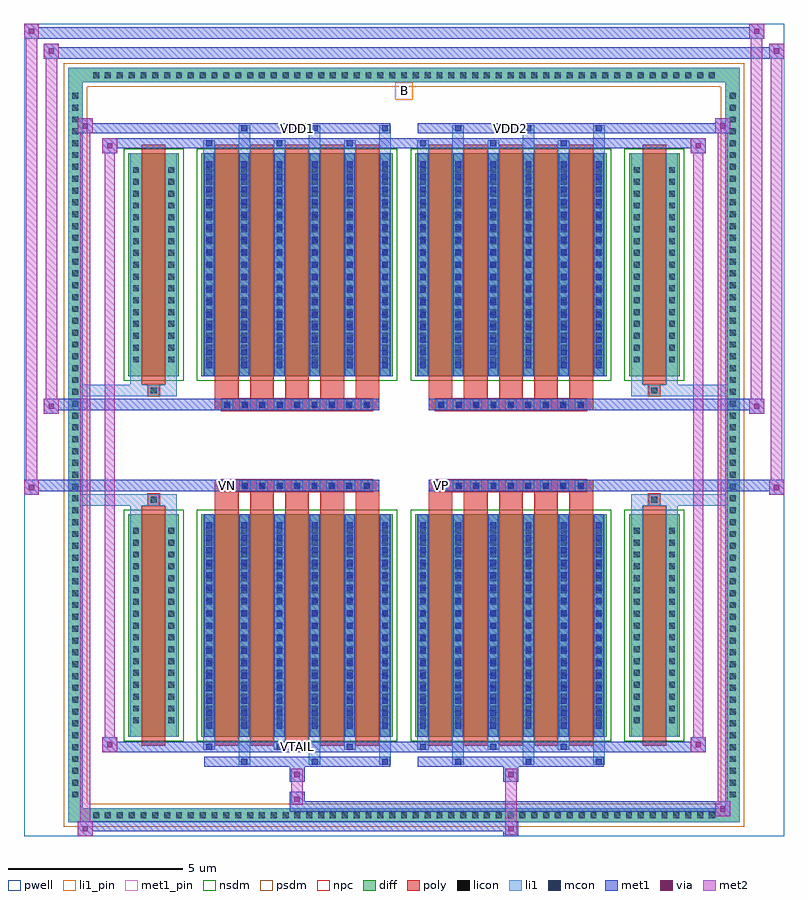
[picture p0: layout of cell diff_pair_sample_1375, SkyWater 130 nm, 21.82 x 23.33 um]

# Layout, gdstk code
import gdstk
lib = gdstk.Library(unit=1e-6, precision=5e-09)
def R(c, l, rs):  # rectangles x0, y0, x1, y1
    for r in rs: c.add(gdstk.rectangle(r[:2], r[2:], *l))
def A(c, l, x, y, w, h, nx, ny, dx, dy):  # array of equal rectangles
    R(c, l, [(x+i*dx, y+j*dy, x+i*dx+w, y+j*dy+h) for i in range(nx) for j in range(ny)])
def P(c, l, *ps):  # polygons
    for p in ps: c.add(gdstk.Polygon(p, *l))
pwell = (64, 44)
diff = (65, 20)
poly = (66, 20)
licon = (66, 44)
li1_pin = (67, 16)
li1 = (67, 20)
mcon = (67, 44)
met1_pin = (68, 16)
met1 = (68, 20)
via = (68, 44)
met2 = (69, 20)
nsdm = (93, 44)
psdm = (94, 20)
npc = (95, 20)

diff_pair_sample_1375 = lib.new_cell('diff_pair_sample_1375')
R(diff_pair_sample_1375, pwell, [(-10.91,-11.23,10.91,12.1), (-8.23,-9.42,-0.01,-0.8), (0.01,-9.42,8.23,-0.8), (-8.23,0.8,-0.01,9.42), (0.01,0.8,8.23,9.42)])
A(diff_pair_sample_1375, diff, -9.045, -10.83, 0.41, 0.41, 53, 2, 0.34, 21.25)
A(diff_pair_sample_1375, diff, -9.64, -10.235, 0.41, 0.41, 1, 60, 0, 0.34)
A(diff_pair_sample_1375, diff, 9.23, -10.235, 0.41, 0.41, 1, 60, 0, 0.34)
R(diff_pair_sample_1375, diff, [(-9.045,-10.83,9.045,-10.42), (-9.64,-10.235,-9.23,10.235), (9.23,-10.235,9.64,10.235), (-7.92,-8.375,-6.46,-1.985), (-5.82,-8.375,-0.32,-1.985), (0.32,-8.375,5.82,-1.985), (6.46,-8.375,7.92,-1.985), (-7.92,1.985,-6.46,8.375), (-5.82,1.985,-0.32,8.375), (0.32,1.985,5.82,8.375), (6.46,1.985,7.92,8.375), (-9.045,10.42,9.045,10.83)])
P(diff_pair_sample_1375, diff, [(9.64,10.83),(-9.64,10.83),(-9.64,-10.42),(-9.23,-10.42),(-9.23,10.42),(9.23,10.42),(9.23,-10.42),(-9.23,-10.42),(-9.64,-10.42),(-9.64,-10.83),(9.64,-10.83)])
A(diff_pair_sample_1375, poly, -5.43, -8.625, 0.68, 6.89, 5, 2, 1.01, 10.36)
A(diff_pair_sample_1375, poly, 0.71, -8.625, 0.68, 6.89, 5, 2, 1.01, 10.36)
A(diff_pair_sample_1375, poly, -5.43, -1.735, 0.68, 0.405, 5, 2, 1.01, 3.065)
A(diff_pair_sample_1375, poly, 0.71, -1.735, 0.68, 0.405, 5, 2, 1.01, 3.065)
A(diff_pair_sample_1375, poly, -5.235, -1.33, 0.33, 0.33, 9, 2, 0.5, 2.33)
A(diff_pair_sample_1375, poly, 0.905, -1.33, 0.33, 0.33, 9, 2, 0.5, 2.33)
R(diff_pair_sample_1375, poly, [(-7.53,-8.625,-6.85,-1.735), (6.85,-8.625,7.53,-1.735), (-7.355,-1.735,-7.025,-1.405), (-7.355,-1.735,-7.025,-1.405), (7.025,-1.735,7.355,-1.405), (7.025,-1.735,7.355,-1.405), (-5.43,-1.33,-0.71,-1), (0.71,-1.33,5.43,-1), (-5.43,1,-0.71,1.33), (0.71,1,5.43,1.33), (-7.355,1.405,-7.025,1.735), (-7.355,1.405,-7.025,1.735), (7.025,1.405,7.355,1.735), (7.025,1.405,7.355,1.735), (-7.53,1.735,-6.85,8.625), (6.85,1.735,7.53,8.625)])
A(diff_pair_sample_1375, licon, -8.925, -10.71, 0.17, 0.17, 53, 2, 0.34, 21.25)
A(diff_pair_sample_1375, licon, -9.52, -10.115, 0.17, 0.17, 1, 60, 0, 0.34)
A(diff_pair_sample_1375, licon, 9.35, -10.115, 0.17, 0.17, 1, 60, 0, 0.34)
A(diff_pair_sample_1375, licon, -7.78, -7.985, 0.17, 0.17, 1, 17, 0, 0.34)
A(diff_pair_sample_1375, licon, -6.77, -7.985, 0.17, 0.17, 1, 17, 0, 0.34)
A(diff_pair_sample_1375, licon, -5.68, -7.985, 0.17, 0.17, 6, 17, 1.01, 0.34)
A(diff_pair_sample_1375, licon, 0.46, -7.985, 0.17, 0.17, 6, 17, 1.01, 0.34)
A(diff_pair_sample_1375, licon, 6.6, -7.985, 0.17, 0.17, 1, 17, 0, 0.34)
A(diff_pair_sample_1375, licon, 7.61, -7.985, 0.17, 0.17, 1, 17, 0, 0.34)
A(diff_pair_sample_1375, licon, -5.155, -1.25, 0.17, 0.17, 9, 2, 0.5, 2.33)
A(diff_pair_sample_1375, licon, 0.985, -1.25, 0.17, 0.17, 9, 2, 0.5, 2.33)
A(diff_pair_sample_1375, licon, -7.78, 2.375, 0.17, 0.17, 1, 17, 0, 0.34)
A(diff_pair_sample_1375, licon, -6.77, 2.375, 0.17, 0.17, 1, 17, 0, 0.34)
A(diff_pair_sample_1375, licon, -5.68, 2.375, 0.17, 0.17, 6, 17, 1.01, 0.34)
A(diff_pair_sample_1375, licon, 0.46, 2.375, 0.17, 0.17, 6, 17, 1.01, 0.34)
A(diff_pair_sample_1375, licon, 6.6, 2.375, 0.17, 0.17, 1, 17, 0, 0.34)
A(diff_pair_sample_1375, licon, 7.61, 2.375, 0.17, 0.17, 1, 17, 0, 0.34)
R(diff_pair_sample_1375, licon, [(-7.275,-1.655,-7.105,-1.485), (7.105,-1.655,7.275,-1.485), (-7.275,1.485,-7.105,1.655), (7.105,1.485,7.275,1.655)])
R(diff_pair_sample_1375, li1_pin, [(-0.25,9.92,0.25,10.42)])
A(diff_pair_sample_1375, li1, -9.005, -10.79, 0.33, 0.33, 53, 2, 0.34, 21.25)
A(diff_pair_sample_1375, li1, -9.6, -10.195, 0.33, 0.33, 1, 60, 0, 0.34)
A(diff_pair_sample_1375, li1, 9.27, -10.195, 0.33, 0.33, 1, 60, 0, 0.34)
A(diff_pair_sample_1375, li1, -4.75, -9.18, 0.33, 0.805, 3, 2, 2.02, 17.555)
A(diff_pair_sample_1375, li1, -4.67, -9.18, 0.17, 0.17, 3, 2, 2.02, 18.19)
A(diff_pair_sample_1375, li1, 1.39, -9.18, 0.33, 0.805, 3, 2, 2.02, 17.555)
A(diff_pair_sample_1375, li1, 1.47, -9.18, 0.17, 0.17, 3, 2, 2.02, 18.19)
A(diff_pair_sample_1375, li1, -5.76, -8.75, 0.33, 0.375, 3, 2, 2.02, 17.125)
A(diff_pair_sample_1375, li1, -5.68, -8.75, 0.17, 0.17, 3, 2, 2.02, 17.33)
A(diff_pair_sample_1375, li1, 0.38, -8.75, 0.33, 0.375, 3, 2, 2.02, 17.125)
A(diff_pair_sample_1375, li1, 0.46, -8.75, 0.17, 0.17, 3, 2, 2.02, 17.33)
A(diff_pair_sample_1375, li1, -5.76, -8.375, 0.33, 6.39, 6, 2, 1.01, 10.36)
A(diff_pair_sample_1375, li1, 0.38, -8.375, 0.33, 6.39, 6, 2, 1.01, 10.36)
A(diff_pair_sample_1375, li1, -5.68, -8.145, 0.17, 0.17, 6, 17, 1.01, 0.36)
A(diff_pair_sample_1375, li1, -5.68, -8.145, 0.17, 5.93, 6, 2, 1.01, 10.36)
A(diff_pair_sample_1375, li1, 0.46, -8.145, 0.17, 0.17, 6, 17, 1.01, 0.36)
A(diff_pair_sample_1375, li1, 0.46, -8.145, 0.17, 5.93, 6, 2, 1.01, 10.36)
A(diff_pair_sample_1375, li1, -7.86, -8.065, 0.33, 0.33, 1, 17, 0, 0.34)
A(diff_pair_sample_1375, li1, -6.85, -8.065, 0.33, 0.33, 1, 17, 0, 0.34)
A(diff_pair_sample_1375, li1, -5.76, -8.065, 0.33, 0.33, 6, 17, 1.01, 0.34)
A(diff_pair_sample_1375, li1, 0.38, -8.065, 0.33, 0.33, 6, 17, 1.01, 0.34)
A(diff_pair_sample_1375, li1, 6.52, -8.065, 0.33, 0.33, 1, 17, 0, 0.34)
A(diff_pair_sample_1375, li1, 7.53, -8.065, 0.33, 0.33, 1, 17, 0, 0.34)
A(diff_pair_sample_1375, li1, -5.235, -1.33, 0.33, 0.33, 9, 2, 0.5, 2.33)
A(diff_pair_sample_1375, li1, 0.905, -1.33, 0.33, 0.33, 9, 2, 0.5, 2.33)
A(diff_pair_sample_1375, li1, -5.68, 2.215, 0.17, 0.17, 6, 17, 1.01, 0.36)
A(diff_pair_sample_1375, li1, 0.46, 2.215, 0.17, 0.17, 6, 17, 1.01, 0.36)
A(diff_pair_sample_1375, li1, -7.86, 2.295, 0.33, 0.33, 1, 17, 0, 0.34)
A(diff_pair_sample_1375, li1, -6.85, 2.295, 0.33, 0.33, 1, 17, 0, 0.34)
A(diff_pair_sample_1375, li1, -5.76, 2.295, 0.33, 0.33, 6, 17, 1.01, 0.34)
A(diff_pair_sample_1375, li1, 0.38, 2.295, 0.33, 0.33, 6, 17, 1.01, 0.34)
A(diff_pair_sample_1375, li1, 6.52, 2.295, 0.33, 0.33, 1, 17, 0, 0.34)
A(diff_pair_sample_1375, li1, 7.53, 2.295, 0.33, 0.33, 1, 17, 0, 0.34)
R(diff_pair_sample_1375, li1, [(-9.64,-10.83,-9.23,-10.42), (-9.64,-10.83,-9.23,-10.42), (-9.23,-10.83,9.23,-10.42), (9.23,-10.83,9.64,-10.42), (9.23,-10.83,9.64,-10.42), (-9.64,-10.42,-9.23,10.42), (9.23,-10.42,9.64,10.42), (-7.86,-8.375,-7.53,-1.985), (-6.85,-8.375,-6.52,-1.985), (6.52,-8.375,6.85,-1.985), (7.53,-8.375,7.86,-1.985), (-7.86,-1.985,-7.53,-1.405), (-6.85,-1.985,-6.52,-1.405), (6.52,-1.985,6.85,-1.405), (7.53,-1.985,7.86,-1.405), (-9.64,-1.735,-7.355,-1.405), (-7.86,-1.735,-7.355,-1.405), (-7.355,-1.735,-7.025,-1.405), (-7.025,-1.735,-6.52,-1.405), (6.52,-1.735,7.025,-1.405), (7.025,-1.735,7.355,-1.405), (7.025,-1.735,9.64,-1.405), (7.355,-1.735,7.86,-1.405), (-9.64,1.405,-7.355,1.735), (-7.86,1.405,-7.355,1.735), (-7.86,1.405,-7.53,1.985), (-7.355,1.405,-7.025,1.735), (-7.025,1.405,-6.52,1.735), (-6.85,1.405,-6.52,1.985), (6.52,1.405,7.025,1.735), (6.52,1.405,6.85,1.985), (7.025,1.405,7.355,1.735), (7.025,1.405,9.64,1.735), (7.355,1.405,7.86,1.735), (7.53,1.405,7.86,1.985), (-7.86,1.985,-7.53,8.375), (-6.85,1.985,-6.52,8.375), (6.52,1.985,6.85,8.375), (7.53,1.985,7.86,8.375), (-9.64,10.42,-9.23,10.83), (-9.64,10.42,-9.23,10.83), (-9.23,10.42,9.23,10.83), (9.23,10.42,9.64,10.83), (9.23,10.42,9.64,10.83)])
A(diff_pair_sample_1375, mcon, -4.67, -9.18, 0.17, 0.17, 3, 2, 2.02, 18.19)
A(diff_pair_sample_1375, mcon, 1.47, -9.18, 0.17, 0.17, 3, 2, 2.02, 18.19)
A(diff_pair_sample_1375, mcon, -5.68, -8.75, 0.17, 0.17, 3, 2, 2.02, 17.33)
A(diff_pair_sample_1375, mcon, 0.46, -8.75, 0.17, 0.17, 3, 2, 2.02, 17.33)
A(diff_pair_sample_1375, mcon, -5.68, -8.145, 0.17, 0.17, 6, 17, 1.01, 0.36)
A(diff_pair_sample_1375, mcon, 0.46, -8.145, 0.17, 0.17, 6, 17, 1.01, 0.36)
A(diff_pair_sample_1375, mcon, -5.155, -1.25, 0.17, 0.17, 9, 2, 0.5, 2.33)
A(diff_pair_sample_1375, mcon, 0.985, -1.25, 0.17, 0.17, 9, 2, 0.5, 2.33)
A(diff_pair_sample_1375, mcon, -5.68, 2.215, 0.17, 0.17, 6, 17, 1.01, 0.36)
A(diff_pair_sample_1375, mcon, 0.46, 2.215, 0.17, 0.17, 6, 17, 1.01, 0.36)
R(diff_pair_sample_1375, met1_pin, [(-3.205,-8.79,-2.935,-8.52), (-5.205,-1.29,-4.935,-1.02), (0.935,-1.29,1.205,-1.02), (-3.205,8.97,-2.935,9.24), (2.935,8.97,3.205,9.24)])
A(diff_pair_sample_1375, met1, -4.73, -9.24, 0.29, 0.29, 3, 2, 2.02, 18.19)
A(diff_pair_sample_1375, met1, 1.41, -9.24, 0.29, 0.29, 3, 2, 2.02, 18.19)
A(diff_pair_sample_1375, met1, -5.74, -8.81, 0.29, 0.29, 3, 2, 2.02, 17.33)
A(diff_pair_sample_1375, met1, 0.4, -8.81, 0.29, 0.29, 3, 2, 2.02, 17.33)
A(diff_pair_sample_1375, met1, -5.74, -8.375, 0.29, 6.39, 6, 2, 1.01, 10.36)
A(diff_pair_sample_1375, met1, 0.4, -8.375, 0.29, 6.39, 6, 2, 1.01, 10.36)
A(diff_pair_sample_1375, met1, -5.74, -8.205, 0.29, 0.29, 6, 17, 1.01, 0.36)
A(diff_pair_sample_1375, met1, 0.4, -8.205, 0.29, 0.29, 6, 17, 1.01, 0.36)
A(diff_pair_sample_1375, met1, -5.215, -1.31, 0.29, 0.29, 9, 2, 0.5, 2.33)
A(diff_pair_sample_1375, met1, 0.925, -1.31, 0.29, 0.29, 9, 2, 0.5, 2.33)
A(diff_pair_sample_1375, met1, -5.74, 2.155, 0.29, 0.29, 6, 17, 1.01, 0.36)
A(diff_pair_sample_1375, met1, 0.4, 2.155, 0.29, 0.29, 6, 17, 1.01, 0.36)
R(diff_pair_sample_1375, met1, [(-9.37,-11.23,-8.94,-10.8), (2.855,-11.23,3.285,-10.8), (-9.37,-11.09,3.285,-10.8), (8.94,-10.66,9.37,-10.23), (-3.285,-10.52,9.37,-10.23), (-3.285,-10.38,-2.855,-9.95), (-3.285,-9.67,-2.855,-9.24), (2.855,-9.67,3.285,-9.24), (-5.74,-9.24,-0.4,-8.95), (0.4,-9.24,5.74,-8.95), (-8.66,-8.81,-8.23,-8.38), (-8.66,-8.81,-5.74,-8.52), (-5.74,-8.81,-0.4,-8.52), (-0.4,-8.81,0.4,-8.52), (0.4,-8.81,5.74,-8.52), (5.74,-8.81,8.66,-8.52), (8.23,-8.81,8.66,-8.38), (-10.91,-1.43,-10.48,-1), (10.48,-1.43,10.91,-1), (-10.91,-1.33,-0.71,-1), (-5.43,-1.33,-0.71,-1), (0.71,-1.33,5.43,-1), (0.71,-1.33,10.91,-1), (-10.34,0.9,-9.91,1.33), (9.91,0.9,10.34,1.33), (-10.34,1,-5.43,1.33), (-5.43,1,-0.71,1.33), (0.71,1,5.43,1.33), (5.43,1,10.34,1.33), (-8.66,8.38,-8.23,8.81), (8.23,8.38,8.66,8.81), (-8.66,8.52,-5.74,8.81), (-5.74,8.52,-0.4,8.81), (-0.4,8.52,0.4,8.81), (0.4,8.52,5.74,8.81), (5.74,8.52,8.66,8.81), (-9.37,8.95,-8.94,9.38), (-9.37,8.95,-5.74,9.24), (-5.74,8.95,-0.4,9.24), (0.4,8.95,5.74,9.24), (5.74,8.95,9.37,9.24), (8.94,8.95,9.37,9.38), (-10.34,11.1,-9.91,11.53), (-10.34,11.1,-8.23,11.43), (-8.23,11.1,8.23,11.43), (8.23,11.1,10.91,11.43), (10.48,11.1,10.91,11.53), (-10.91,11.67,-10.48,12.1), (-10.91,11.67,-8.23,12), (-8.23,11.67,8.23,12), (8.23,11.67,10.34,12), (9.91,11.67,10.34,12.1)])
R(diff_pair_sample_1375, via, [(-9.23,-11.09,-9.08,-10.94), (2.995,-11.09,3.145,-10.94), (9.08,-10.52,9.23,-10.37), (-3.145,-10.24,-2.995,-10.09), (-3.145,-9.53,-2.995,-9.38), (2.995,-9.53,3.145,-9.38), (-8.52,-8.67,-8.37,-8.52), (8.37,-8.67,8.52,-8.52), (-10.77,-1.29,-10.62,-1.14), (10.62,-1.29,10.77,-1.14), (-10.2,1.04,-10.05,1.19), (10.05,1.04,10.2,1.19), (-8.52,8.52,-8.37,8.67), (8.37,8.52,8.52,8.67), (-9.23,9.09,-9.08,9.24), (9.08,9.09,9.23,9.24), (-10.2,11.24,-10.05,11.39), (10.62,11.24,10.77,11.39), (-10.77,11.81,-10.62,11.96), (10.05,11.81,10.2,11.96)])
R(diff_pair_sample_1375, met2, [(-9.37,-11.23,-8.94,-10.8), (-9.3,-11.23,-9.01,9.38), (-9.01,-11.23,-8.94,-10.8), (-9.32,-11.18,-8.99,-10.85), (2.905,-11.18,3.235,-10.85), (2.905,-10.85,3.235,-9.62), (8.94,-10.66,9.37,-10.23), (9.01,-10.66,9.3,9.38), (9.3,-10.66,9.37,-10.23), (8.99,-10.61,9.32,-10.28), (-3.235,-10.33,-2.905,-10), (-3.235,-10,-2.905,-9.62), (-3.235,-9.62,-2.905,-9.29), (2.905,-9.62,3.235,-9.29), (-8.66,-8.81,-8.23,-8.38), (-8.59,-8.81,-8.3,8.81), (-8.3,-8.81,-8.23,-8.38), (8.23,-8.81,8.66,-8.38), (8.3,-8.81,8.59,8.81), (8.59,-8.81,8.66,-8.38), (-8.61,-8.76,-8.28,-8.43), (8.28,-8.76,8.61,-8.43), (-10.91,-1.43,-10.48,-1), (-10.86,-1.43,-10.53,12.1), (-10.53,-1.43,-10.48,-1), (10.48,-1.43,10.91,-1), (10.53,-1.43,10.86,11.53), (10.86,-1.43,10.91,-1), (-10.86,-1.38,-10.53,-1.05), (10.53,-1.38,10.86,-1.05), (-10.34,0.9,-9.91,1.33), (-10.29,0.9,-9.96,11.53), (-9.96,0.9,-9.91,1.33), (9.91,0.9,10.34,1.33), (9.96,0.9,10.29,12.1), (10.29,0.9,10.34,1.33), (-10.29,0.95,-9.96,1.28), (9.96,0.95,10.29,1.28), (-8.66,8.38,-8.23,8.81), (-8.3,8.38,-8.23,8.81), (8.23,8.38,8.66,8.81), (8.59,8.38,8.66,8.81), (-8.61,8.43,-8.28,8.76), (8.28,8.43,8.61,8.76), (-9.37,8.95,-8.94,9.38), (-9.01,8.95,-8.94,9.38), (8.94,8.95,9.37,9.38), (9.3,8.95,9.37,9.38), (-9.32,9,-8.99,9.33), (8.99,9,9.32,9.33), (-10.34,11.1,-9.91,11.53), (-9.96,11.1,-9.91,11.53), (10.48,11.1,10.91,11.53), (10.86,11.1,10.91,11.53), (-10.29,11.15,-9.96,11.48), (10.53,11.15,10.86,11.48), (-10.91,11.67,-10.48,12.1), (-10.53,11.67,-10.48,12.1), (9.91,11.67,10.34,12.1), (10.29,11.67,10.34,12.1), (-10.86,11.72,-10.53,12.05), (9.96,11.72,10.29,12.05)])
R(diff_pair_sample_1375, nsdm, [(-8.05,-8.505,-6.33,-1.855), (-5.95,-8.505,-0.19,-1.855), (0.19,-8.505,5.95,-1.855), (6.33,-8.505,8.05,-1.855), (-8.05,1.855,-6.33,8.505), (-5.95,1.855,-0.19,8.505), (0.19,1.855,5.95,8.505), (6.33,1.855,8.05,8.505)])
P(diff_pair_sample_1375, psdm, [(9.77,10.96),(-9.77,10.96),(-9.77,-10.29),(-9.1,-10.29),(-9.1,10.29),(9.1,10.29),(9.1,-10.29),(-9.1,-10.29),(-9.77,-10.29),(-9.77,-10.96),(9.77,-10.96)])
A(diff_pair_sample_1375, npc, -5.255, -1.35, 0.37, 0.37, 9, 2, 0.5, 2.33)
A(diff_pair_sample_1375, npc, 0.885, -1.35, 0.37, 0.37, 9, 2, 0.5, 2.33)
R(diff_pair_sample_1375, npc, [(-7.375,-1.755,-7.005,-1.385), (7.005,-1.755,7.375,-1.385), (-5.255,-1.35,-4.385,-0.98), (-5.255,-1.35,-4.385,-0.98), (-4.755,-1.35,-3.885,-0.98), (-4.755,-1.35,-3.885,-0.98), (-4.255,-1.35,-3.385,-0.98), (-4.255,-1.35,-3.385,-0.98), (-3.755,-1.35,-2.885,-0.98), (-3.755,-1.35,-2.885,-0.98), (-3.255,-1.35,-2.385,-0.98), (-3.255,-1.35,-2.385,-0.98), (-2.755,-1.35,-1.885,-0.98), (-2.755,-1.35,-1.885,-0.98), (-2.255,-1.35,-1.385,-0.98), (-2.255,-1.35,-1.385,-0.98), (-1.755,-1.35,-0.885,-0.98), (-1.755,-1.35,-0.885,-0.98), (0.885,-1.35,1.755,-0.98), (0.885,-1.35,1.755,-0.98), (1.385,-1.35,2.255,-0.98), (1.385,-1.35,2.255,-0.98), (1.885,-1.35,2.755,-0.98), (1.885,-1.35,2.755,-0.98), (2.385,-1.35,3.255,-0.98), (2.385,-1.35,3.255,-0.98), (2.885,-1.35,3.755,-0.98), (2.885,-1.35,3.755,-0.98), (3.385,-1.35,4.255,-0.98), (3.385,-1.35,4.255,-0.98), (3.885,-1.35,4.755,-0.98), (3.885,-1.35,4.755,-0.98), (4.385,-1.35,5.255,-0.98), (4.385,-1.35,5.255,-0.98), (-5.255,0.98,-4.385,1.35), (-5.255,0.98,-4.385,1.35), (-4.755,0.98,-3.885,1.35), (-4.755,0.98,-3.885,1.35), (-4.255,0.98,-3.385,1.35), (-4.255,0.98,-3.385,1.35), (-3.755,0.98,-2.885,1.35), (-3.755,0.98,-2.885,1.35), (-3.255,0.98,-2.385,1.35), (-3.255,0.98,-2.385,1.35), (-2.755,0.98,-1.885,1.35), (-2.755,0.98,-1.885,1.35), (-2.255,0.98,-1.385,1.35), (-2.255,0.98,-1.385,1.35), (-1.755,0.98,-0.885,1.35), (-1.755,0.98,-0.885,1.35), (0.885,0.98,1.755,1.35), (0.885,0.98,1.755,1.35), (1.385,0.98,2.255,1.35), (1.385,0.98,2.255,1.35), (1.885,0.98,2.755,1.35), (1.885,0.98,2.755,1.35), (2.385,0.98,3.255,1.35), (2.385,0.98,3.255,1.35), (2.885,0.98,3.755,1.35), (2.885,0.98,3.755,1.35), (3.385,0.98,4.255,1.35), (3.385,0.98,4.255,1.35), (3.885,0.98,4.755,1.35), (3.885,0.98,4.755,1.35), (4.385,0.98,5.255,1.35), (4.385,0.98,5.255,1.35), (-7.375,1.385,-7.005,1.755), (7.005,1.385,7.375,1.755)])
diff_pair_sample_1375.add(gdstk.Label('VTAIL', (-3.07,-8.655), layer=68, texttype=5))
diff_pair_sample_1375.add(gdstk.Label('VN', (-5.07,-1.155), layer=68, texttype=5))
diff_pair_sample_1375.add(gdstk.Label('VP', (1.07,-1.155), layer=68, texttype=5))
diff_pair_sample_1375.add(gdstk.Label('B', (0,10.17), layer=67, texttype=5))
diff_pair_sample_1375.add(gdstk.Label('VDD2', (3.07,9.105), layer=68, texttype=5))
diff_pair_sample_1375.add(gdstk.Label('VDD1', (-3.07,9.105), layer=68, texttype=5))

lib.write_gds('diff_pair_sample_1375.gds')
